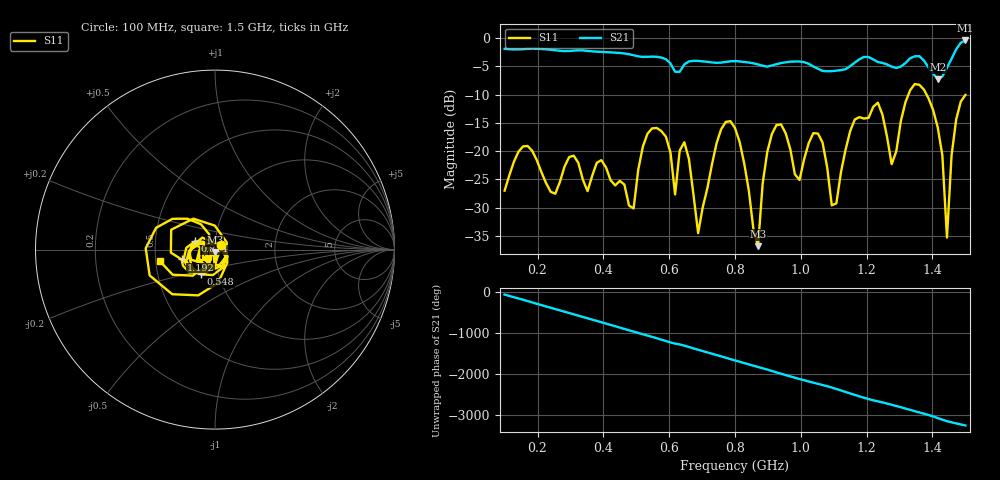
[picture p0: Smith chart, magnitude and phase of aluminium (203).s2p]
! NanoVNA-App
! Date: 2025-09-25 14:56:51
! Start: 100MHz Stop: 1,5GHz Points: 101
! S-Parameter data: F S11 S21 S12 S22
# Hz S RI R 50
!  Frequency  S11_Real  S11_Imag  S21_Real  S21_Imag  S12_Real  S12_Imag  S22_Real  S22_Imag
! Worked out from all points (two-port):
!   101 points, 100 MHz to 1.5 GHz, reference 50 ohm
!   highest |S21| = -0.44 dB at 1.5 GHz (marker M1); lowest = -7.3 dB at 1.416 GHz (marker M2)
!   |S21| within 3 dB of the highest: start of sweep to 574.1 MHz; 1.46 GHz to end of sweep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
!   lowest |S11| = -36.8 dB at 870 MHz (marker M3), VSWR 1.03, Z = 49.8 - j1.44 ohm
!   |S11| at or under -10 dB: start of sweep to 1.327 GHz; 1.382 GHz to end of sweep
!   S12 and S22 are empty: the file has one direction only
!   S11 on the Smith chart (normalised r, x): 100 MHz: 1.07, +0.06; 548 MHz: 0.82, -0.23; 814 MHz: 0.80, +0.07; 1.192 GHz: 0.68, -0.08; 1.5 GHz: 0.53, -0.08
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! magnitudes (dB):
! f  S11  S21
! 100 MHz  -27.0  -1.9
! 338 MHz  -25.1  -2.2
! 492 MHz  -30.1  -3.1
! 548 MHz  -16.0  -3.3
! 576 MHz  -16.4  -3.5
! 618 MHz  -27.6  -6.0
! 646 MHz  -18.4  -4.7
! 688 MHz  -34.5  -4.1
! 800 MHz  -15.9  -4.1
! 814 MHz  -18.4  -4.2
! 870 MHz  -36.8  -4.7
! 912 MHz  -17.0  -4.9
! 996 MHz  -25.1  -4.2
! 1.038 GHz  -16.8  -5.0
! 1.094 GHz  -29.6  -5.9
! 1.192 GHz  -14.2  -3.3
! 1.276 GHz  -22.3  -5.1
! 1.346 GHz  -8.1  -3.2
! 1.416 GHz  -15.8  -7.3
! 1.444 GHz  -35.3  -5.3
! 1.472 GHz  -14.4  -2.0
! 1.5 GHz  -10.1  -0.4
